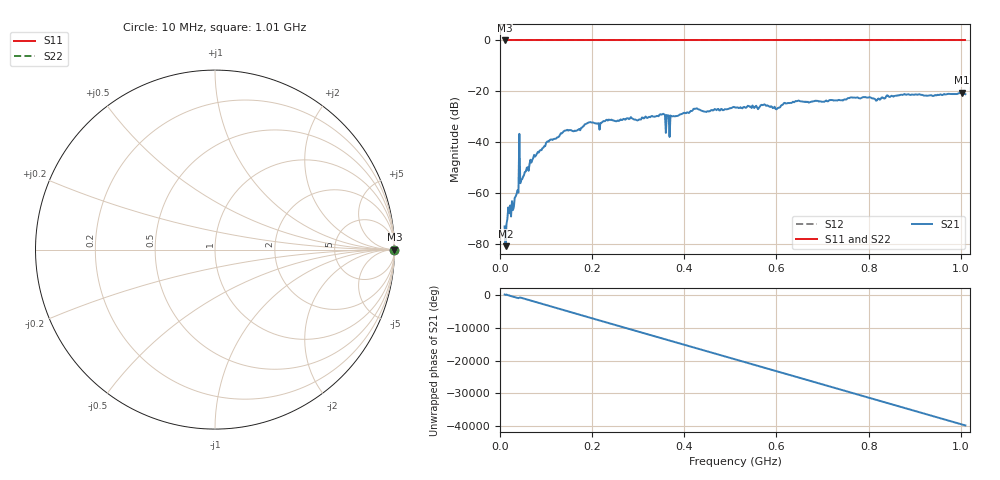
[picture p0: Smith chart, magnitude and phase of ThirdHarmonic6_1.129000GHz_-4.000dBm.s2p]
! 8/16/2025 10:57:08 AM
! C:\ANRITSUVNA\TEMP\TEMP.S2P
! CHANNEL.1
! TR.MEASUREMENT
! RAW.DATA
! RF.CORRECTION.OFF
! AVERAGING.OFF
! IF.BANDWIDTH: 5KHZ
! SWEEPTYPE:  FREQ.SWEEP(Linear)
! Reference Plane Port Info
! PORT:  PORT1  PORT2
! DISTANCE:  0  m  0  m
! TIME:  0  s  0  s
! PHASE.OFFSET:  0  deg.  0  deg.
! LOSS:  0  dB  0  dB
! REF.LOSS:  0  dB  0  dB
! REF.FREQ:  0  Hz  0  Hz
! Power Info
! POWER:  -20  dBm  -20  dBm
! EFF.POWER:  -20  dBm  -20  dBm
! SOURCE.ATTEN:  0  dB  0  dB
! TEST.ATTEN:  0  dB  0  dB
# GHZ S RI R 50.0
! FREQ.GHZ  S11RE  S11IM  S21RE  S21IM  S12RE  S12IM  S22RE  S22IM
!; PortSelection: Port_12
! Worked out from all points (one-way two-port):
!   501 points, 10 MHz to 1.01 GHz, reference 50 ohm
!   highest |S21| = -20.48 dB at 1.002 GHz (marker M1); lowest = -80.9 dB at 12 MHz (marker M2)
!   lowest |S11| = 0.0 dB at 10 MHz (marker M3)
!   |S11| at or under -10 dB: nowhere
!   |S22| runs from 0.0 to 0.0 dB; largest |S21 - S12| = 1.1
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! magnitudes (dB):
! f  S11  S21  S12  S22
! 10 MHz  0.0  -73.1  0.0  0.0
! 12 MHz  0.0  -80.9  0.0  0.0
! 18 MHz  0.0  -65.6  0.0  0.0
! 32 MHz  0.0  -61.8  0.0  0.0
! 36 MHz  0.0  -60.4  0.0  0.0
! 38 MHz  0.0  -58.8  0.0  0.0
! 46 MHz  0.0  -54.9  0.0  0.0
! 48 MHz  0.0  -54.5  0.0  0.0
! 70 MHz  0.0  -47.0  0.0  0.0
! 106 MHz  0.0  -39.7  0.0  0.0
! 178 MHz  0.0  -34.3  0.0  0.0
! 344 MHz  0.0  -29.8  0.0  0.0
! 354 MHz  0.0  -28.8  0.0  0.0
! 364 MHz  0.0  -29.5  0.0  0.0
! 374 MHz  0.0  -29.8  0.0  0.0
! 424 MHz  0.0  -26.9  0.0  0.0
! 510 MHz  0.0  -26.4  0.0  0.0
! 602 MHz  0.0  -26.7  0.0  0.0
! 678 MHz  0.0  -24.0  0.0  0.0
! 844 MHz  0.0  -22.1  0.0  0.0
! 1.002 GHz  0.0  -20.5  0.0  0.0
! 1.01 GHz  0.0  -21.1  0.0  0.0
